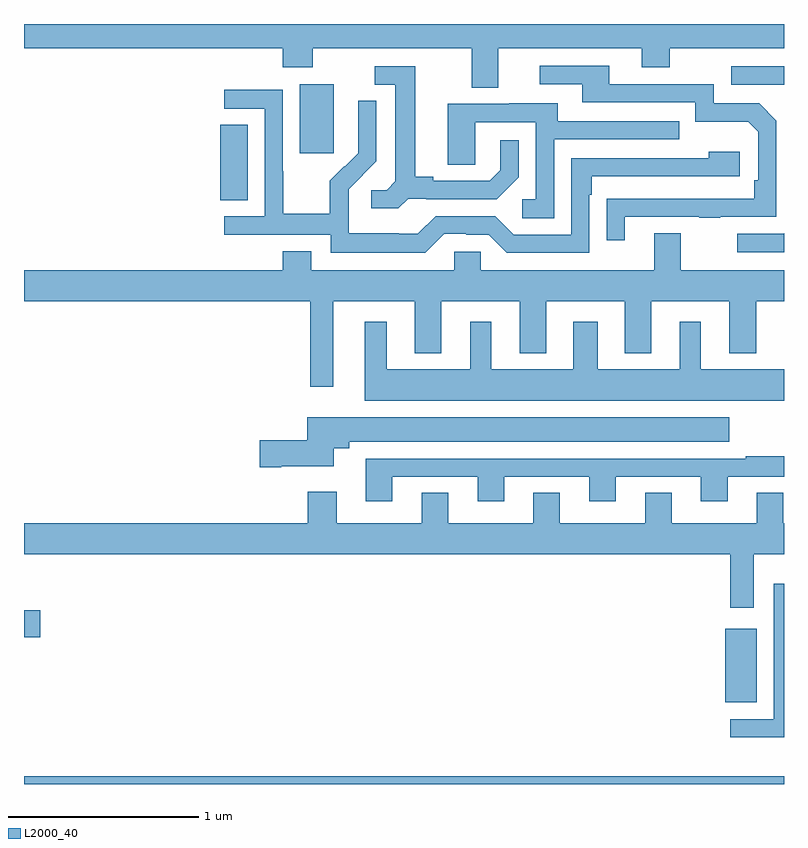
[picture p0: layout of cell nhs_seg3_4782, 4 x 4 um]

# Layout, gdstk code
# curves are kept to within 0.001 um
import gdstk
lib = gdstk.Library(unit=1e-6, precision=1e-09)
def R(c, l, rs):  # rectangles x0, y0, x1, y1
    for r in rs: c.add(gdstk.rectangle(r[:2], r[2:], *l))
def P(c, l, *ps):  # polygons
    for p in ps: c.add(gdstk.Polygon(p, *l))
L2000_40 = (2000, 40)

nhs_seg3_4782 = lib.new_cell('nhs_seg3_4782')
R(nhs_seg3_4782, L2000_40, [(369,674.4,373,674.44), (372.692,674.831,372.856,675.217), (369,675.173,369.085,675.315), (370.034,677.473,370.177,677.87), (370.451,677.721,370.63,678.082)])
P(nhs_seg3_4782, L2000_40, [(371.497,678.272),(372.251,678.272),(372.251,678.173),(372.399,678.173),(372.399,678.272),(373,678.272),(373,678.4),(369,678.4),(369,678.272),(370.361,678.272),(370.361,678.173),(370.521,678.173),(370.521,678.272),(371.357,678.272),(371.357,678.064),(371.497,678.064)],
  [(372.163,677.385),(372.553,677.385),(372.553,677.38),(372.665,677.38),(372.665,677.385),(372.96,677.385),(372.96,677.892),(372.87,677.982),(372.63,677.982),(372.63,678.084),(372.079,678.084),(372.079,678.18),(371.715,678.18),(371.715,678.084),(371.939,678.084),(371.939,677.988),(372.534,677.988),(372.534,677.885),(372.811,677.885),(372.864,677.832),(372.864,677.578),(372.844,677.578),(372.844,677.481),(372.067,677.48),(372.067,677.262),(372.163,677.262)],
  [(373,678.177),(372.723,678.177),(372.723,678.081),(372.999,678.081),(373,678.08)],
  [(371.022,677.481),(371.116,677.481),(371.116,677.478),(371.488,677.478),(371.604,677.594),(371.604,677.788),(371.507,677.788),(371.507,677.631),(371.45,677.574),(371.155,677.574),(371.155,677.597),(371.059,677.597),(371.059,678.177),(370.845,678.177),(370.845,678.081),(370.955,678.081),(370.955,677.573),(370.908,677.526),(370.827,677.526),(370.827,677.429),(370.97,677.429)],
  [(371.211,677.295),(371.327,677.295),(371.327,677.292),(371.445,677.292),(371.541,677.196),(371.976,677.196),(371.976,677.501),(371.989,677.501),(371.989,677.598),(372.766,677.598),(372.766,677.728),(372.605,677.728),(372.605,677.694),(371.88,677.694),(371.88,677.292),(371.577,677.292),(371.481,677.388),(371.166,677.388),(371.073,677.295),(370.973,677.295),(370.973,677.299),(370.71,677.299),(370.71,677.433),(370.708,677.433),(370.708,677.53),(370.854,677.678),(370.854,677.996),(370.758,677.996),(370.758,677.842),(370.76,677.842),(370.76,677.72),(370.689,677.649),(370.686,677.652),(370.609,677.575),(370.609,677.401),(370.365,677.401),(370.365,677.624),(370.362,677.624),(370.362,678.054),(370.053,678.054),(370.053,677.955),(370.266,677.955),(370.266,677.388),(370.053,677.388),(370.053,677.292),(370.614,677.292),(370.614,677.195),(371.111,677.195)],
  [(371.79,677.793),(372.449,677.793),(372.449,677.889),(371.809,677.889),(371.809,677.983),(371.555,677.983),(371.555,677.979),(371.231,677.979),(371.231,677.659),(371.376,677.659),(371.376,677.883),(371.694,677.883),(371.694,677.478),(371.622,677.478),(371.622,677.377),(371.79,677.377)],
  [(373,677.299),(372.996,677.295),(372.753,677.295),(372.753,677.199),(373,677.199)],
  [(370.627,676.94),(371.057,676.94),(371.057,676.667),(371.197,676.667),(371.197,676.94),(371.609,676.94),(371.609,676.667),(371.749,676.667),(371.749,676.94),(372.161,676.94),(372.161,676.667),(372.301,676.667),(372.301,676.94),(372.713,676.94),(372.713,676.667),(372.853,676.667),(372.853,676.94),(373,676.94),(373,677.104),(372.457,677.104),(372.457,677.299),(372.317,677.299),(372.317,677.104),(371.403,677.104),(371.403,677.202),(371.265,677.202),(371.265,677.104),(370.513,677.104),(370.513,677.203),(370.361,677.203),(370.361,677.104),(369,677.104),(369,676.94),(370.506,676.94),(370.506,676.491),(370.627,676.491)],
  [(373,676.582),(372.562,676.582),(372.562,676.834),(372.452,676.834),(372.452,676.582),(372.019,676.582),(372.019,676.834),(371.891,676.834),(371.891,676.582),(371.458,676.582),(371.458,676.834),(371.348,676.834),(371.348,676.582),(370.909,676.582),(370.909,676.834),(370.793,676.834),(370.793,676.418),(373,676.418)],
  [(370.354,676.073),(370.63,676.073),(370.63,676.166),(370.711,676.166),(370.711,676.202),(372.712,676.202),(372.712,676.33),(370.49,676.33),(370.49,676.208),(370.242,676.208),(370.242,676.066),(370.354,676.066)],
  [(370.939,676.017),(371.387,676.017),(371.387,675.888),(371.527,675.888),(371.527,676.017),(371.975,676.017),(371.975,675.888),(372.115,675.888),(372.115,676.017),(372.563,676.017),(372.563,675.888),(372.703,675.888),(372.703,676.017),(373,676.017),(373,676.126),(372.799,676.126),(372.799,676.113),(370.799,676.113),(370.799,675.888),(370.939,675.888)],
  [(372.841,675.608),(373,675.608),(373,675.772),(372.997,675.772),(372.997,675.932),(372.857,675.932),(372.857,675.772),(372.409,675.772),(372.409,675.932),(372.269,675.932),(372.269,675.772),(371.821,675.772),(371.821,675.932),(371.681,675.932),(371.681,675.772),(371.233,675.772),(371.233,675.932),(371.093,675.932),(371.093,675.772),(370.645,675.772),(370.645,675.937),(370.493,675.937),(370.493,675.772),(369,675.772),(369,675.608),(372.716,675.608),(372.716,675.327),(372.841,675.327)],
  [(373,675.454),(372.945,675.454),(372.945,674.742),(372.717,674.742),(372.717,674.645),(373,674.645)])

lib.write_gds('nhs_seg3_4782.gds')
